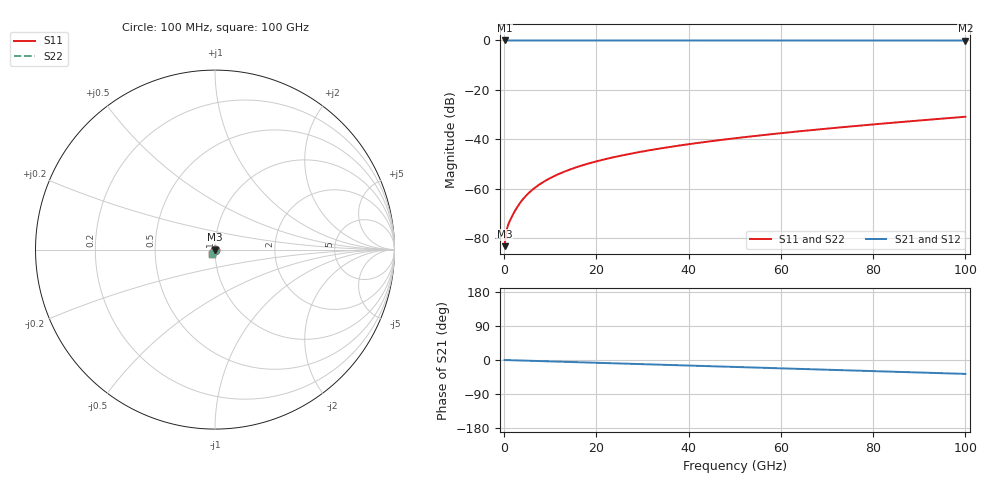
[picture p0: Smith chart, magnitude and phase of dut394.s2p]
! Touchstone file exported from HFSS 2026.1.0
!  File:  C:/ffzhzh/LocalFiles/Ansys_Project_Files/temp_train_TSV_394_1783510730_31944.aedt
!  Generated:  07:40:02 PM Jul  8, 2026
!  Design:  TSV
!  Project:  temp_train_TSV_394_1783510730_31944
! Variables:
!  h_bsmrdl = 2um
!  h_ox = 20um
!  h_rdl = 5um
!  h_sub = 69.59um
!  h_tmrdl = 5um
!  h_tsv = 69.59um
!  h_via = 3um
!  l_bsmrdl = 300um
!  l_sub = 429.46um
!  l_tmrdl = 200um
!  m_sub = 200um
!  pitch = 56.74um
!  r_tsv = 14.73um
!  s_tmrdl = 10um
!  w_bsmrdl = 18um
!  w_sub = 500um
!  w_tmrdl = 12um
!  x_tsv_center1 = 206um
!  x_tsv_center2 = 524um
!  x_tsv_center3 = 736um
!  x_tsv_center4 = 1054um
!  x_tsv_center5 = 1266um
!  x_tsv_center6 = 1584um
# GHz S MA R 50.000000
! Terminal data exported
! Port[1] = TSV1_1_T1
! Port[2] = TSV1_1_T2
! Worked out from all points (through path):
!   1000 points, 100 MHz to 100 GHz, reference 50 ohm
!   highest |S21| = 0.00 dB at 100 MHz (marker M1); lowest = 0.0 dB at 100 GHz (marker M2)
!   group delay of S21, straight-line fit = 1.02 ps
!   lowest |S11| = -83.3 dB at 100 MHz (marker M3), VSWR 1.00, Z = 50 + j0.00185 ohm
!   |S11| at or under -10 dB: start of sweep to end of sweep
!   |S22| runs from -83.3 to -30.9 dB; largest |S21 - S12| = 2.2e-15
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0.1  6.833e-05 15.7  0.9999 -0.0  0.9999 -0.0  6.833e-05 15.7
! Gamma 0 0 0 0
! Port Impedance 50 0 50 0
0.4  0.0001225 19.2  0.9999 -0.2  0.9999 -0.2  0.0001225 19.2
0.9  0.0001874 -1.9  0.9998 -0.3  0.9998 -0.3  0.0001874 -1.9
1.2  0.0002189 -11.8  0.9998 -0.4  0.9998 -0.4  0.0002189 -11.8
1.7  0.0002738 -24.0  0.9997 -0.6  0.9997 -0.6  0.0002739 -24.0
2.4  0.0003616 -35.7  0.9997 -0.9  0.9997 -0.9  0.0003617 -35.6
3.1  0.0004605 -43.7  0.9997 -1.1  0.9997 -1.1  0.0004605 -43.7
3.9  0.0005825 -50.4  0.9996 -1.4  0.9996 -1.4  0.0005826 -50.4
4.7  0.0007107 -55.5  0.9996 -1.7  0.9996 -1.7  0.0007109 -55.5
5.6  0.0008596 -59.9  0.9995 -2.1  0.9995 -2.1  0.0008599 -59.9
7.7  0.00122 -66.9  0.9995 -2.8  0.9995 -2.8  0.001221 -66.8
10.3  0.00169 -72.0  0.9994 -3.8  0.9994 -3.8  0.001691 -72.0
13.3  0.002252 -76.3  0.9993 -4.9  0.9993 -4.9  0.002253 -76.2
16.8  0.002928 -80.2  0.9992 -6.1  0.9992 -6.1  0.002929 -80.1
20.2  0.003603 -83.2  0.9991 -7.4  0.9991 -7.4  0.003604 -83.2
24.1  0.004397 -86.2  0.999 -8.8  0.999 -8.8  0.004399 -86.2
33.4  0.006402 -92.2  0.9988 -12.2  0.9988 -12.2  0.006404 -92.0
41.1  0.008197 -96.4  0.9987 -15.0  0.9987 -15.0  0.008201 -96.2
50.1  0.01048 -101.0  0.9985 -18.3  0.9985 -18.3  0.01048 -100.8
66.7  0.01532 -108.8  0.9982 -24.4  0.9982 -24.4  0.01533 -108.6
83.4  0.02125 -116.4  0.9978 -30.5  0.9978 -30.5  0.02126 -116.2
100  0.02853 -123.8  0.9972 -36.7  0.9972 -36.7  0.02853 -123.6
